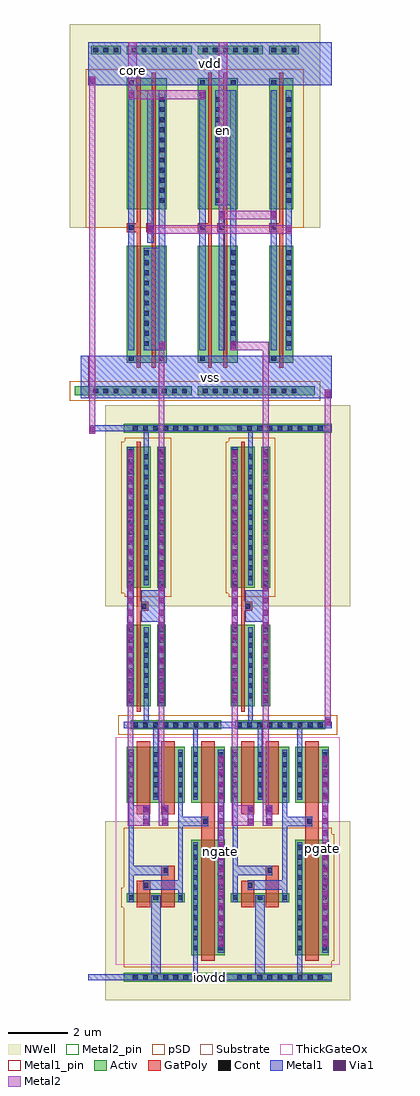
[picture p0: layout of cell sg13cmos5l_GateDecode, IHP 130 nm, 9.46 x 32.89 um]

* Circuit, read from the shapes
.subckt sg13cmos5l_GateDecode core en iovdd ngate pgate vdd vss
XM1 vss n1 n2 vss sg13_hv_nmos w=1.9u l=0.45u
XM2 vss sg13cmos5l_LevelUp_5/i n1 vss sg13_lv_nmos w=2.75u l=0.13u
XM3 sg13cmos5l_LevelUp_5/i core vss vss sg13_lv_nmos w=3.93u l=0.13u
XM4 vss sg13cmos5l_io_nor2_x1_3/i1 sg13cmos5l_LevelUp_5/i vss sg13_lv_nmos w=3.93u l=0.13u
XM5 n3 sg13cmos5l_LevelUp_5/i vss vss sg13_hv_nmos w=1.9u l=0.45u
XM6 ngate n3 vss vss sg13_hv_nmos w=1.9u l=0.45u
XM7 n4 core vss vss sg13_lv_nmos w=3.93u l=0.13u
XM8 sg13cmos5l_LevelUp_4/i en n4 vss sg13_lv_nmos w=3.93u l=0.13u
XM9 vss n5 n6 vss sg13_hv_nmos w=1.9u l=0.45u
XM10 vss sg13cmos5l_LevelUp_4/i n5 vss sg13_lv_nmos w=2.75u l=0.13u
XM11 n7 sg13cmos5l_LevelUp_4/i vss vss sg13_hv_nmos w=1.9u l=0.45u
XM12 sg13cmos5l_io_nor2_x1_3/i1 en vss vss sg13_lv_nmos w=3.93u l=0.13u
XM13 pgate n7 vss vss sg13_hv_nmos w=1.9u l=0.45u
XM14 iovdd n3 n2 iovdd sg13_hv_pmos w=0.3u l=0.45u
XM15 vdd sg13cmos5l_LevelUp_5/i n1 vdd sg13_lv_pmos w=4.75u l=0.13u
XM16 n8 core vdd vdd sg13_lv_pmos w=4.41u l=0.13u
XM17 sg13cmos5l_LevelUp_5/i sg13cmos5l_io_nor2_x1_3/i1 n8 vdd sg13_lv_pmos w=4.41u l=0.13u
XM18 n3 n2 iovdd iovdd sg13_hv_pmos w=0.3u l=0.45u
XM19 ngate n3 iovdd iovdd sg13_hv_pmos w=3.9u l=0.45u
XM20 sg13cmos5l_LevelUp_4/i core vdd vdd sg13_lv_pmos w=4.41u l=0.13u
XM21 vdd en sg13cmos5l_LevelUp_4/i vdd sg13_lv_pmos w=4.41u l=0.13u
XM22 iovdd n7 n6 iovdd sg13_hv_pmos w=0.3u l=0.45u
XM23 vdd sg13cmos5l_LevelUp_4/i n5 vdd sg13_lv_pmos w=4.75u l=0.13u
XM24 n7 n6 iovdd iovdd sg13_hv_pmos w=0.3u l=0.45u
XM25 sg13cmos5l_io_nor2_x1_3/i1 en vdd vdd sg13_lv_pmos w=4.41u l=0.13u
XM26 pgate n7 iovdd iovdd sg13_hv_pmos w=3.9u l=0.45u
.ends

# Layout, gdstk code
import gdstk
lib = gdstk.Library(unit=1e-6, precision=1e-09)
def R(c, l, rs):  # rectangles x0, y0, x1, y1
    for r in rs: c.add(gdstk.rectangle(r[:2], r[2:], *l))
def A(c, l, x, y, w, h, nx, ny, dx, dy):  # array of equal rectangles
    R(c, l, [(x+i*dx, y+j*dy, x+i*dx+w, y+j*dy+h) for i in range(nx) for j in range(ny)])
def P(c, l, *ps):  # polygons
    for p in ps: c.add(gdstk.Polygon(p, *l))
Activ = (1, 0)
GatPoly = (5, 0)
Cont = (6, 0)
Metal1 = (8, 0)
Metal1_pin = (8, 2)
Metal2 = (10, 0)
Metal2_pin = (10, 2)
pSD = (14, 0)
Via1 = (19, 0)
NWell = (31, 0)
Substrate = (40, 0)
ThickGateOx = (44, 0)

sg13cmos5l_io_nand2_x1 = lib.new_cell('sg13cmos5l_io_nand2_x1')
R(sg13cmos5l_io_nand2_x1, Activ, [(0.105,0.105,2.295,0.405), (0.105,1.21,1.445,5.14), (0.105,6.38,1.445,10.79), (0.105,11.595,2.295,11.895)])
P(sg13cmos5l_io_nand2_x1, GatPoly, [(0.955,1.03),(0.955,5.61),(0.755,5.61),(0.755,5.91),(0.955,5.91),(0.955,10.97),(1.085,10.97),(1.085,1.03)],
  [(0.445,1.03),(0.445,5.61),(0.105,5.61),(0.105,5.91),(0.445,5.91),(0.445,10.97),(0.575,10.97),(0.575,1.03)])
A(sg13cmos5l_io_nand2_x1, Cont, 0.27, 0.175, 0.16, 0.16, 6, 2, 0.34, 11.49)
A(sg13cmos5l_io_nand2_x1, Cont, 1.215, 1.775, 0.16, 0.16, 1, 10, 0, 0.34)
A(sg13cmos5l_io_nand2_x1, Cont, 0.685, 6.595, 0.16, 0.16, 1, 11, 0, 0.34)
R(sg13cmos5l_io_nand2_x1, Cont, [(0.175,1.28,0.335,1.44), (0.175,5.68,0.335,5.84), (0.825,5.68,0.985,5.84), (0.175,10.56,0.335,10.72), (1.215,10.56,1.375,10.72)])
R(sg13cmos5l_io_nand2_x1, Metal1, [(0,0,2.4,1.44), (0.15,1.62,0.36,10.38), (0.8,1.62,1.01,6.335), (0,10.56,2.4,12)])
P(sg13cmos5l_io_nand2_x1, Metal1, [(1.19,1.62),(1.19,6.515),(0.685,6.515),(0.685,10.38),(1.4,10.38),(1.4,1.62)])
R(sg13cmos5l_io_nand2_x1, Metal1_pin, [(0,0,2.4,1.44), (0.15,1.62,0.36,10.38), (0.8,1.62,1.01,6.335), (1.19,1.62,1.4,10.38), (0,10.56,2.4,12)])
R(sg13cmos5l_io_nand2_x1, pSD, [(-0.075,-0.075,2.475,0.585), (-0.075,5.76,2.475,11.09)])
R(sg13cmos5l_io_nand2_x1, NWell, [(-0.62,5.76,3.02,12.62)])
R(sg13cmos5l_io_nand2_x1, Substrate, [(0.105,0.105,2.295,0.405)])
sg13cmos5l_io_nand2_x1.add(gdstk.Label('sub!', (0.36,0.29), layer=63, texttype=0))
sg13cmos5l_io_nand2_x1.add(gdstk.Label('nq', (1.32,10.025), layer=8, texttype=25))
sg13cmos5l_io_nand2_x1.add(gdstk.Label('i1', (0.9,6), layer=8, texttype=25))
sg13cmos5l_io_nand2_x1.add(gdstk.Label('i0', (0.255,6), layer=8, texttype=25))
sg13cmos5l_io_nand2_x1.add(gdstk.Label('vdd', (1.2,11.28), layer=8, texttype=25))
sg13cmos5l_io_nand2_x1.add(gdstk.Label('vss', (1.2,0.72), layer=8, texttype=25))

sg13cmos5l_io_inv_x1 = lib.new_cell('sg13cmos5l_io_inv_x1')
R(sg13cmos5l_io_inv_x1, Activ, [(-0.44,0.105,1.64,0.405), (0.105,1.21,0.915,5.14), (0.105,6.38,0.915,10.79), (0.105,11.595,1.095,11.895)])
P(sg13cmos5l_io_inv_x1, GatPoly, [(0.445,1.03),(0.445,5.61),(0.105,5.61),(0.105,5.91),(0.445,5.91),(0.445,10.97),(0.575,10.97),(0.575,1.03)])
A(sg13cmos5l_io_inv_x1, Cont, 0.18, 0.175, 0.16, 0.16, 3, 2, 0.34, 11.49)
A(sg13cmos5l_io_inv_x1, Cont, 0.685, 1.775, 0.16, 0.16, 1, 10, 0, 0.34)
A(sg13cmos5l_io_inv_x1, Cont, 0.685, 6.595, 0.16, 0.16, 1, 11, 0, 0.34)
R(sg13cmos5l_io_inv_x1, Cont, [(0.175,1.28,0.335,1.44), (0.175,5.68,0.335,5.84), (0.175,10.56,0.335,10.72)])
R(sg13cmos5l_io_inv_x1, Metal1, [(-0.62,0,1.82,1.44), (0.15,1.62,0.36,10.38), (0.66,1.62,0.87,10.38), (0,10.56,1.2,12)])
R(sg13cmos5l_io_inv_x1, Metal1_pin, [(0,0,1.2,1.44), (0.15,1.62,0.36,10.38), (0.66,1.62,0.87,10.38), (0,10.56,1.2,12)])
R(sg13cmos5l_io_inv_x1, pSD, [(-0.62,-0.075,1.82,0.585), (-0.075,5.76,1.275,11.09)])
R(sg13cmos5l_io_inv_x1, NWell, [(-0.62,5.76,1.82,12.62)])
R(sg13cmos5l_io_inv_x1, Substrate, [(-0.44,0.105,1.64,0.405)])
sg13cmos5l_io_inv_x1.add(gdstk.Label('sub!', (0.71,0.22), layer=63, texttype=0))
sg13cmos5l_io_inv_x1.add(gdstk.Label('nq', (0.78,3.755), layer=8, texttype=25))
sg13cmos5l_io_inv_x1.add(gdstk.Label('i', (0.255,6), layer=8, texttype=25))
sg13cmos5l_io_inv_x1.add(gdstk.Label('vdd', (0.6,11.28), layer=8, texttype=25))
sg13cmos5l_io_inv_x1.add(gdstk.Label('vss', (0.6,0.72), layer=8, texttype=25))

sg13cmos5l_io_tie = lib.new_cell('sg13cmos5l_io_tie')
R(sg13cmos5l_io_tie, Activ, [(-0.445,0.105,1.64,0.405), (0.105,11.595,1.095,11.895), (0.11,11.595,1.09,11.895)])
A(sg13cmos5l_io_tie, Cont, 0.18, 0.175, 0.16, 0.16, 3, 2, 0.34, 11.49)
R(sg13cmos5l_io_tie, Metal1, [(-0.25,0,1.47,1.44), (0,10.56,1.2,12)])
R(sg13cmos5l_io_tie, Metal1_pin, [(0,0,1.2,1.44), (0,10.56,1.2,12)])
R(sg13cmos5l_io_tie, pSD, [(-0.62,-0.075,1.82,0.585), (-0.075,5.76,1.275,11.09)])
R(sg13cmos5l_io_tie, NWell, [(-0.62,5.76,1.82,12.62)])
R(sg13cmos5l_io_tie, Substrate, [(-0.445,0.105,1.64,0.405)])
sg13cmos5l_io_tie.add(gdstk.Label('sub!', (0.62,0.32), layer=63, texttype=0))
sg13cmos5l_io_tie.add(gdstk.Label('vss', (0.6,0.72), layer=8, texttype=25))
sg13cmos5l_io_tie.add(gdstk.Label('vdd', (0.6,11.28), layer=8, texttype=25))

sg13cmos5l_io_nor2_x1 = lib.new_cell('sg13cmos5l_io_nor2_x1')
R(sg13cmos5l_io_nor2_x1, Activ, [(0.105,0.105,2.295,0.405), (0.105,1.21,1.445,5.14), (0.105,6.38,1.445,10.79), (0.105,11.595,2.295,11.895)])
P(sg13cmos5l_io_nor2_x1, GatPoly, [(0.955,1.03),(0.955,5.61),(0.755,5.61),(0.755,5.91),(0.955,5.91),(0.955,10.97),(1.085,10.97),(1.085,1.03)],
  [(0.445,1.03),(0.445,5.61),(0.105,5.61),(0.105,5.91),(0.445,5.91),(0.445,10.97),(0.575,10.97),(0.575,1.03)])
A(sg13cmos5l_io_nor2_x1, Cont, 0.27, 0.175, 0.16, 0.16, 6, 2, 0.34, 11.49)
A(sg13cmos5l_io_nor2_x1, Cont, 0.685, 1.775, 0.16, 0.16, 1, 10, 0, 0.34)
A(sg13cmos5l_io_nor2_x1, Cont, 1.215, 6.595, 0.16, 0.16, 1, 11, 0, 0.34)
R(sg13cmos5l_io_nor2_x1, Cont, [(0.175,1.28,0.335,1.44), (1.215,1.28,1.375,1.44), (0.175,5.68,0.335,5.84), (0.825,5.68,0.985,5.84), (0.175,10.56,0.335,10.72)])
R(sg13cmos5l_io_nor2_x1, Metal1, [(0,0,2.4,1.44), (0.15,1.62,0.36,10.38), (0.8,5.255,1.01,10.38), (0,10.56,2.4,12)])
P(sg13cmos5l_io_nor2_x1, Metal1, [(0.685,1.62),(0.685,5.075),(1.19,5.075),(1.19,10.38),(1.4,10.38),(1.4,1.62)])
R(sg13cmos5l_io_nor2_x1, Metal1_pin, [(0,0,2.4,1.44), (0.15,1.62,0.36,10.38), (1.19,1.62,1.4,10.38), (0.8,5.255,1.01,10.38), (0,10.56,2.4,12)])
R(sg13cmos5l_io_nor2_x1, pSD, [(-0.075,-0.075,2.475,0.585), (-0.075,5.76,2.475,11.09)])
R(sg13cmos5l_io_nor2_x1, NWell, [(-0.62,5.76,3.02,12.62)])
R(sg13cmos5l_io_nor2_x1, Substrate, [(0.105,0.105,2.295,0.405)])
sg13cmos5l_io_nor2_x1.add(gdstk.Label('sub!', (0.37,0.26), layer=63, texttype=0))
sg13cmos5l_io_nor2_x1.add(gdstk.Label('i1', (0.92,6.455), layer=8, texttype=25))
sg13cmos5l_io_nor2_x1.add(gdstk.Label('nq', (1.28,4.63), layer=8, texttype=25))
sg13cmos5l_io_nor2_x1.add(gdstk.Label('i0', (0.255,6), layer=8, texttype=25))
sg13cmos5l_io_nor2_x1.add(gdstk.Label('vdd', (1.2,11.28), layer=8, texttype=25))
sg13cmos5l_io_nor2_x1.add(gdstk.Label('vss', (1.2,0.72), layer=8, texttype=25))

sg13cmos5l_levelup = lib.new_cell('sg13cmos5l_LevelUp')
R(sg13cmos5l_levelup, Activ, [(0,-0.15,3.51,0.15), (2.275,0.73,3.405,4.63), (0.105,2.53,2.065,2.83), (0.105,5.87,1.235,7.77), (1.15,5.87,1.85,7.77), (1.765,5.87,2.065,7.77), (2.275,5.87,3.405,7.77), (0.245,8.35,3.29,8.65), (0.105,9.13,0.915,11.88), (1.125,9.13,1.425,11.88), (0.105,13.12,0.915,17.87), (1.125,13.12,1.425,17.87), (0,18.35,3.51,18.65)])
R(sg13cmos5l_levelup, GatPoly, [(2.615,0.55,3.065,7.95), (0.445,2.35,0.895,3.01), (0.445,2.35,0.895,3.25), (1.275,2.35,1.725,3.75), (1.275,3.45,1.575,3.75), (0.445,5.49,0.895,7.95), (1.275,5.49,1.725,7.95)])
P(sg13cmos5l_levelup, GatPoly, [(0.445,8.95),(0.445,18.05),(0.575,18.05),(0.575,12.65),(0.825,12.65),(0.825,12.35),(0.575,12.35),(0.575,8.95)],
  [(0.595,5.49),(0.595,5.69),(0.445,5.69),(0.445,7.95),(0.895,7.95),(0.895,5.49)],
  [(1.275,5.49),(1.275,7.95),(1.725,7.95),(1.725,5.69),(1.575,5.69),(1.575,5.49)])
A(sg13cmos5l_levelup, Cont, 0.315, -0.08, 0.16, 0.16, 9, 2, 0.34, 8.5)
A(sg13cmos5l_levelup, Cont, 2.345, 0.9, 0.16, 0.16, 1, 11, 0, 0.34)
A(sg13cmos5l_levelup, Cont, 3.175, 0.9, 0.16, 0.16, 1, 11, 0, 0.34)
A(sg13cmos5l_levelup, Cont, 0.175, 2.6, 0.16, 0.16, 3, 2, 0.83, 3.46)
A(sg13cmos5l_levelup, Cont, 2.345, 6.06, 0.16, 0.16, 1, 5, 0, 0.34)
A(sg13cmos5l_levelup, Cont, 3.175, 6.06, 0.16, 0.16, 1, 5, 0, 0.34)
A(sg13cmos5l_levelup, Cont, 0.175, 6.4, 0.16, 0.16, 3, 4, 0.83, 0.34)
A(sg13cmos5l_levelup, Cont, 0.175, 9.235, 0.16, 0.16, 1, 8, 0, 0.34)
A(sg13cmos5l_levelup, Cont, 1.195, 9.235, 0.16, 0.16, 1, 8, 0, 0.34)
A(sg13cmos5l_levelup, Cont, 0.685, 9.405, 0.16, 0.16, 1, 7, 0, 0.34)
A(sg13cmos5l_levelup, Cont, 0.175, 13.205, 0.16, 0.16, 1, 14, 0, 0.34)
A(sg13cmos5l_levelup, Cont, 1.195, 13.205, 0.16, 0.16, 1, 14, 0, 0.34)
A(sg13cmos5l_levelup, Cont, 0.685, 13.375, 0.16, 0.16, 1, 13, 0, 0.34)
A(sg13cmos5l_levelup, Cont, 0.315, 18.42, 0.16, 0.16, 9, 1, 0.34, 0)
R(sg13cmos5l_levelup, Cont, [(0.665,3.02,0.825,3.18), (1.345,3.52,1.505,3.68), (2.685,5.17,2.845,5.33), (0.665,5.56,0.825,5.72), (1.345,5.56,1.505,5.72), (0.595,12.42,0.755,12.58)])
R(sg13cmos5l_levelup, Metal1, [(3.175,0.82,3.385,7.66), (0.665,2.94,0.825,3.26), (1.345,3.44,1.505,3.76), (0.665,5.1,0.875,5.8), (1.295,5.1,1.505,5.8), (1.345,5.48,1.505,5.8), (0.125,9.155,0.335,17.865)])
P(sg13cmos5l_levelup, Metal1, [(1.835,2.52),(1.835,2.94),(0.665,2.94),(0.665,3.26),(1.835,3.26),(1.835,7.66),(1.995,7.66),(1.995,5.41),(2.845,5.41),(2.845,5.09),(1.995,5.09),(1.995,2.52)],
  [(0,-0.105),(0,0.105),(0.925,0.105),(0.925,2.76),(1.245,2.76),(1.245,0.105),(2.345,0.105),(2.345,4.54),(2.505,4.54),(2.505,0.105),(3.51,0.105),(3.51,-0.105)],
  [(0.175,2.52),(0.175,7.66),(0.335,7.66),(0.335,3.76),(1.505,3.76),(1.505,3.44),(0.335,3.44),(0.335,2.52)],
  [(1.17,9.155),(1.17,11.97),(0.595,11.97),(0.595,13.03),(1.17,13.03),(1.17,17.865),(1.38,17.865),(1.38,9.155)],
  [(1.005,5.98),(1.005,8.395),(0,8.395),(0,8.605),(0.685,8.605),(0.685,11.79),(0.845,11.79),(0.845,8.605),(3.51,8.605),(3.51,8.395),(2.505,8.395),(2.505,5.98),(2.345,5.98),(2.345,8.395),(1.165,8.395),(1.165,5.98)],
  [(0.685,13.21),(0.685,18.395),(0,18.395),(0,18.605),(3.51,18.605),(3.51,18.395),(0.845,18.395),(0.845,13.21)])
R(sg13cmos5l_levelup, Metal1_pin, [(0,-0.105,3.51,0.105), (0,8.395,3.51,8.605), (0,18.395,3.51,18.605)])
R(sg13cmos5l_levelup, Metal2, [(3.18,1.02,3.38,7.46)])
P(sg13cmos5l_levelup, Metal2, [(1.175,5.1),(1.175,17.755),(1.375,17.755),(1.375,5.8),(1.5,5.8),(1.5,5.1)],
  [(0.13,5.1),(0.13,17.755),(0.33,17.755),(0.33,5.8),(0.87,5.8),(0.87,5.1)])
R(sg13cmos5l_levelup, Metal2_pin, [(3.18,1.02,3.38,7.46), (1.175,9.265,1.375,17.755)])
R(sg13cmos5l_levelup, pSD, [(-0.18,8.17,3.69,8.83)])
P(sg13cmos5l_levelup, pSD, [(0.035,12.82),(0.035,12.94),(-0.075,12.94),(-0.075,18.05),(0.035,18.05),(0.035,18.17),(1.605,18.17),(1.605,12.82)],
  [(0,0.33),(0,2.35),(-0.075,2.35),(-0.075,3.01),(0,3.01),(0,5.03),(3.51,5.03),(3.51,4.81),(3.585,4.81),(3.585,0.55),(3.51,0.55),(3.51,0.33)])
A(sg13cmos5l_levelup, Via1, 3.185, 1.07, 0.19, 0.19, 1, 16, 0, 0.41)
A(sg13cmos5l_levelup, Via1, 0.135, 9.315, 0.19, 0.19, 1, 21, 0, 0.41)
A(sg13cmos5l_levelup, Via1, 1.18, 9.315, 0.19, 0.19, 1, 21, 0, 0.41)
R(sg13cmos5l_levelup, Via1, [(0.675,5.15,0.865,5.34), (1.305,5.15,1.495,5.34), (0.675,5.56,0.865,5.75), (1.305,5.56,1.495,5.75)])
R(sg13cmos5l_levelup, NWell, [(-0.62,-0.77,4.13,5.25), (-0.62,12.5,4.13,19.27)])
R(sg13cmos5l_levelup, Substrate, [(0.245,8.35,3.29,8.65)])
R(sg13cmos5l_levelup, ThickGateOx, [(-0.27,0.42,3.78,8.08)])
sg13cmos5l_levelup.add(gdstk.Label('sub!', (1.61,8.535), layer=63, texttype=0))
sg13cmos5l_levelup.add(gdstk.Label('iovdd', (1.755,0), layer=8, texttype=25))
sg13cmos5l_levelup.add(gdstk.Label('vss', (1.755,8.5), layer=8, texttype=25))
sg13cmos5l_levelup.add(gdstk.Label('vdd', (1.755,18.5), layer=8, texttype=25))
sg13cmos5l_levelup.add(gdstk.Label('o', (3.28,4.24), layer=10, texttype=25))
sg13cmos5l_levelup.add(gdstk.Label('i', (1.275,13.51), layer=10, texttype=25))

sg13cmos5l_gatedecode = lib.new_cell('sg13cmos5l_GateDecode')
R(sg13cmos5l_gatedecode, Metal1, [(0,-19.605,8.22,-19.395), (7.97,-11.04,8.18,-10.75), (0,0,8.22,1.44), (2.39,1.62,2.6,1.91), (4.79,1.62,5,1.91), (2,5.545,2.21,5.835), (6.66,5.545,6.87,5.835), (4.4,6.045,4.61,6.335), (6.15,6.045,6.36,6.335), (1.35,10.09,1.56,10.38), (3.75,10.09,3.96,10.38), (0,10.56,8.22,12)])
P(sg13cmos5l_gatedecode, Metal1, [(0.04,-1.185),(0.04,-0.895),(4.71,-0.895),(4.71,-1.105),(0.25,-1.105),(0.25,-1.185)])
R(sg13cmos5l_gatedecode, Metal1_pin, [(0,-19.605,8.22,-19.395), (0,0,8.22,1.44), (0,10.56,8.22,12)])
R(sg13cmos5l_gatedecode, Metal2, [(4.38,-18.48,4.58,-12.04), (7.89,-18.48,8.09,-12.04), (7.975,-11.04,8.175,0.29), (0.045,-1.185,0.245,10.85), (2.005,5.545,6.865,5.835)])
P(sg13cmos5l_gatedecode, Metal2, [(5.885,-10.235),(5.885,1.62),(4.795,1.62),(4.795,1.91),(6.085,1.91),(6.085,-10.235)],
  [(2.375,-10.235),(2.375,1.91),(2.595,1.91),(2.595,1.62),(2.575,1.62),(2.575,-10.235)],
  [(1.355,10.09),(1.355,12),(1.645,12),(1.645,10.38),(3.955,10.38),(3.955,10.09)],
  [(4.405,6.045),(4.405,12),(4.695,12),(4.695,6.335),(6.355,6.335),(6.355,6.045)])
R(sg13cmos5l_gatedecode, Metal2_pin, [(4.38,-18.48,4.58,-12.04), (7.89,-18.48,8.09,-12.04), (4.405,6.045,4.695,12), (1.355,10.09,1.645,12)])
R(sg13cmos5l_gatedecode, Via1, [(7.98,-10.99,8.17,-10.8), (0.05,-1.135,0.24,-0.945), (7.98,0.05,8.17,0.24), (2.4,1.67,2.59,1.86), (4.8,1.67,4.99,1.86), (2.01,5.595,2.2,5.785), (6.67,5.595,6.86,5.785), (4.41,6.095,4.6,6.285), (6.16,6.095,6.35,6.285), (1.36,10.14,1.55,10.33), (3.76,10.14,3.95,10.33), (0.05,10.61,0.24,10.8)])
sg13cmos5l_gatedecode.add(gdstk.Reference(sg13cmos5l_io_nand2_x1, (3.6,0)))
sg13cmos5l_gatedecode.add(gdstk.Reference(sg13cmos5l_io_inv_x1, (6,0)))
sg13cmos5l_gatedecode.add(gdstk.Reference(sg13cmos5l_io_tie, (0,0)))
sg13cmos5l_gatedecode.add(gdstk.Reference(sg13cmos5l_io_nor2_x1, (1.2,0)))
sg13cmos5l_gatedecode.add(gdstk.Reference(sg13cmos5l_levelup, (4.71,-19.5)))
sg13cmos5l_gatedecode.add(gdstk.Reference(sg13cmos5l_levelup, (1.2,-19.5)))
sg13cmos5l_gatedecode.add(gdstk.Label('iovdd', (4.11,-19.5), layer=8, texttype=25))
sg13cmos5l_gatedecode.add(gdstk.Label('vdd', (4.11,11.28), layer=8, texttype=25))
sg13cmos5l_gatedecode.add(gdstk.Label('vss', (4.11,0.72), layer=8, texttype=25))
sg13cmos5l_gatedecode.add(gdstk.Label('en', (4.55,9.02), layer=10, texttype=25))
sg13cmos5l_gatedecode.add(gdstk.Label('ngate', (4.48,-15.26), layer=10, texttype=25))
sg13cmos5l_gatedecode.add(gdstk.Label('core', (1.5,11.045), layer=10, texttype=25))
sg13cmos5l_gatedecode.add(gdstk.Label('pgate', (7.89,-15.155), layer=10, texttype=25))

lib.write_gds('sg13cmos5l_GateDecode.gds')
